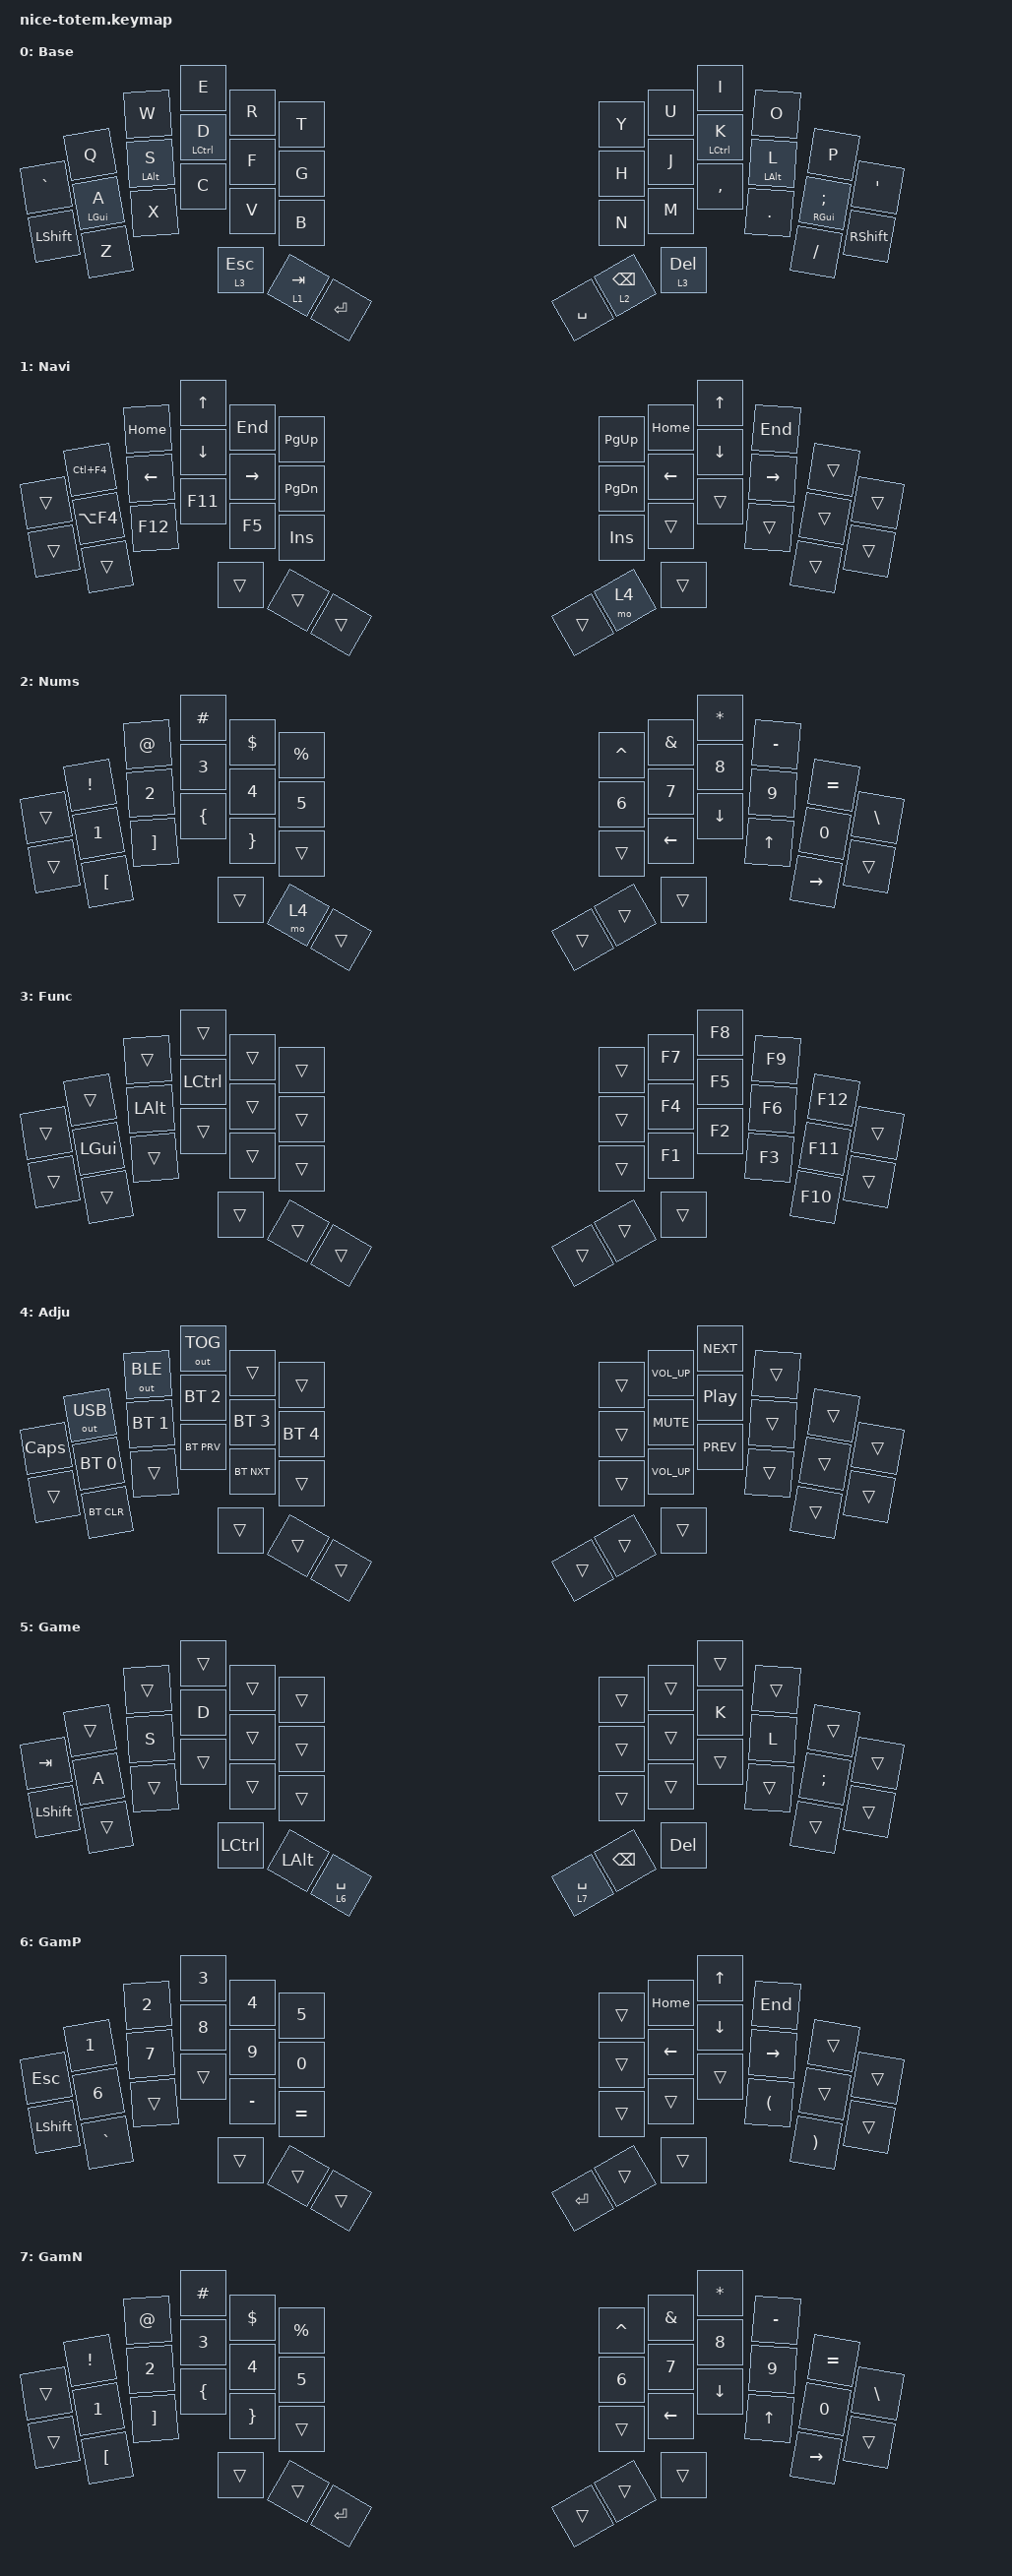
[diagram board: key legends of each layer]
#include <behaviors.dtsi>
#include <dt-bindings/zmk/keys.h>
#include <dt-bindings/zmk/bt.h>
#include <dt-bindings/zmk/outputs.h>

#define Base 0
#define Navi 1
#define Nums 2
#define Func 3
#define Adju 4
#define Game 5
#define GamP 6
#define GamN 7

&lt {
    flavor = "balanced";
    quick-tap-ms = <180>;
};

/ {

    behaviors {

        hm: homerow_mods {
            compatible = "zmk,behavior-hold-tap";
            label = "HOMEROW_MODS";
            #binding-cells = <2>;
            flavor = "tap-preferred";
            tapping-term-ms = <200>;
            quick-tap-ms = <125>;
            global-quick-tap;
            bindings = <&kp>, <&kp>;
        };
        
    };

    combos {
        compatible = "zmk,combos";

        combo_lpar {
            timeout-ms = <50>;
            key-positions = <14 15>;
            bindings = <&kp LPAR>;
        };

        combo_rpar {
            timeout-ms = <50>;
            key-positions = <16 17>;
            bindings = <&kp RPAR>;
        };

        combo_space {
            timeout-ms = <50>;
            key-positions = <26 27>;
            layers = <0>;
            bindings = <&kp SPACE>;
        };

        combo_right_b {
            timeout-ms = <50>;
            key-positions = <28 29>;
            bindings = <&kp B>;
        };

        combo_hanyeong {
            timeout-ms = <50>;
            key-positions = <30 31>;
            bindings = <&kp RALT>;
        };

        combo_hanja {
            timeout-ms = <50>;
            key-positions = <31 32>;
            bindings = <&kp RCTRL>;
        };

        combo_to_game_layer {
            timeout-ms = <50>;
            key-positions = <10 15>;
            layers = <1>;
            bindings = <&to 5>;
        };

        combo_to_game_layer_esc {
            timeout-ms = <50>;
            key-positions = <0 1>;
            layers = <6>;
            bindings = <&kp ESC>;
        };

        combo_to_base_layer {
            timeout-ms = <50>;
            key-positions = <10 15>;
            layers = <6>;
            bindings = <&to 0>;
        };
    };

    keymap {
        compatible = "zmk,keymap";

        Base {
            display-name = "Base";
            label = "Base";
            bindings = <
                            &kp Q           &kp W           &kp E           &kp R           &kp T                           &kp Y           &kp U           &kp I           &kp O           &kp P               
            &kp GRAVE       &hm LGUI A      &hm LALT S      &hm LCTRL D     &kp F           &kp G                           &kp H           &kp J           &hm LCTRL K     &hm LALT L      &hm RGUI SEMI   &kp SQT
            &kp LSHIFT      &kp Z           &kp X           &kp C           &kp V           &kp B                           &kp N           &kp M           &kp COMMA       &kp DOT         &kp SLASH       &kp RSHIFT
                                                            &lt 3 ESC       &lt 1 TAB       &kp ENTER                       &kp SPACE       &lt 2 BSPC      &lt 3 DEL
            >;
        };

        Navi {
            display-name = "Navi";
            label = "Navi";
            bindings = <
                            &kp LC(F4)      &kp HOME        &kp UP          &kp END         &kp PG_UP                       &kp PG_UP       &kp HOME        &kp UP          &kp END         &trans    
            &trans          &kp LA(F4)      &kp LEFT        &kp DOWN        &kp RIGHT       &kp PG_DN                       &kp PG_DN       &kp LEFT        &kp DOWN        &kp RIGHT       &trans          &trans
            &trans          &trans          &kp F12         &kp F11         &kp F5          &kp INS                         &kp INS         &trans          &trans          &trans          &trans          &trans
                                                            &trans          &trans          &trans                          &trans          &mo 4           &trans                                                
            >;
        };

        Nums {
            display-name = "Nums";
            label = "Nums";
            bindings = <
                            &kp EXCL        &kp AT          &kp HASH        &kp DLLR        &kp PRCNT                      &kp CARET       &kp AMPS        &kp ASTRK       &kp MINUS        &kp EQUAL  
            &trans          &kp N1          &kp N2          &kp N3          &kp N4          &kp N5                         &kp N6          &kp N7          &kp N8          &kp N9           &kp N0          &kp BSLH
            &trans          &kp LBKT        &kp RBKT        &kp LBRC        &kp RBRC        &trans                         &trans          &kp LEFT        &kp DOWN        &kp UP           &kp RIGHT       &trans
                                                            &trans          &mo 4           &trans                         &trans          &trans          &trans
            >;
        };

        Func {
            display-name = "Func";
            label = "Func";
            bindings = <
                            &trans          &trans          &trans          &trans          &trans                         &trans          &kp F7          &kp F8          &kp F9          &kp F12  
            &trans          &kp LGUI        &kp LALT        &kp LCTRL       &trans          &trans                         &trans          &kp F4          &kp F5          &kp F6          &kp F11         &trans
            &trans          &trans          &trans          &trans          &trans          &trans                         &trans          &kp F1          &kp F2          &kp F3          &kp F10         &trans
                                                            &trans          &trans          &trans                         &trans          &trans          &trans
            >;
        };

        Adju {
            display-name = "Adju";
            label = "Adju";
            bindings = <
                            &out OUT_USB    &out OUT_BLE    &out OUT_TOG    &trans          &trans                         &trans          &kp C_VOL_UP    &kp C_NEXT      &trans          &trans  
            &kp CAPS        &bt BT_SEL 0    &bt BT_SEL 1    &bt BT_SEL 2    &bt BT_SEL 3    &bt BT_SEL 4                   &trans          &kp C_MUTE      &kp C_PP        &trans          &trans           &trans
            &trans          &bt BT_CLR      &trans          &bt BT_PRV      &bt BT_NXT      &trans                         &trans          &kp C_VOL_UP    &kp C_PREV      &trans          &trans           &trans
                                                            &trans          &trans          &trans                         &trans          &trans          &trans                                                                                                                                        
            >;
        };

        Game {
            display-name = "Game";
            label = "Game";
            bindings = <
                            &trans          &trans          &trans          &trans          &trans                          &trans          &trans          &trans          &trans          &trans   
            &kp TAB         &kp A           &kp S           &kp D           &trans          &trans                          &trans          &trans          &kp K           &kp L           &kp SEMI        &trans
            &kp LSHIFT      &trans          &trans          &trans          &trans          &trans                          &trans          &trans          &trans          &trans          &trans          &trans
                                                            &kp LCTRL       &kp LALT        &lt 6 SPACE                     &lt 7 SPACE     &kp BSPC        &kp DEL
            >;
        };

        GamP {
            display-name = "GamP";
            label = "GamP";
            bindings = <   
                            &kp N1          &kp N2          &kp N3          &kp N4          &kp N5                          &trans          &kp HOME        &kp UP          &kp END         &trans
            &kp ESC         &kp N6          &kp N7          &kp N8          &kp N9          &kp N0                          &trans          &kp LEFT        &kp DOWN        &kp RIGHT       &trans          &trans
            &kp LSHIFT      &kp GRAVE       &trans          &trans          &kp MINUS       &kp EQUAL                       &trans          &trans          &trans          &kp LPAR        &kp RPAR        &trans
                                                            &trans          &trans          &trans                          &kp ENTER       &trans          &trans
            >;
        };

        GamN {
            display-name = "GamN";
            label = "GamN";
            bindings = <
                            &kp EXCL        &kp AT          &kp HASH        &kp DLLR        &kp PRCNT                      &kp CARET       &kp AMPS        &kp ASTRK       &kp MINUS        &kp EQUAL  
            &trans          &kp N1          &kp N2          &kp N3          &kp N4          &kp N5                         &kp N6          &kp N7          &kp N8          &kp N9           &kp N0          &kp BSLH
            &trans          &kp LBKT        &kp RBKT        &kp LBRC        &kp RBRC        &trans                         &trans          &kp LEFT        &kp DOWN        &kp UP           &kp RIGHT       &trans
                                                            &trans          &trans          &kp ENTER                      &trans          &trans          &trans
            >;
        };
    };
};
